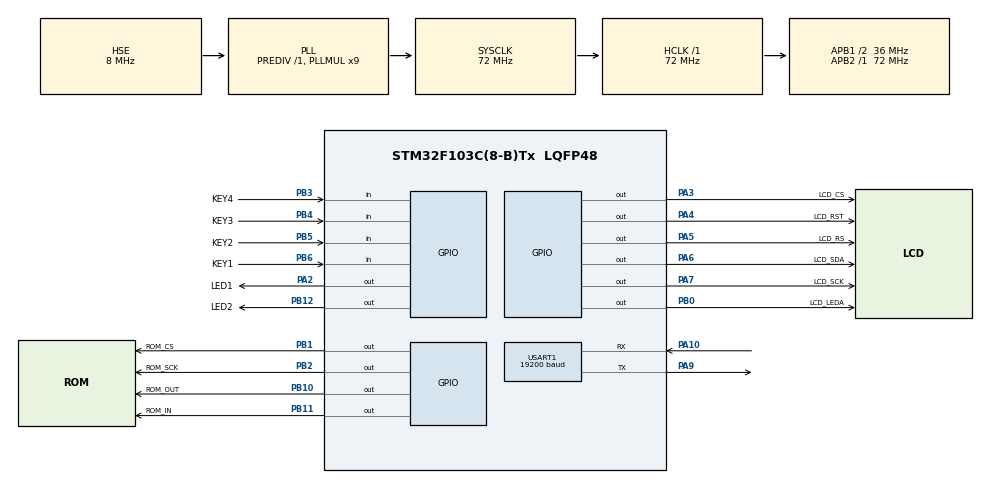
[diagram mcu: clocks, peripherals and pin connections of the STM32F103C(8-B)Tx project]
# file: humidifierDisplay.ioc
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FREERTOS.Tasks01=initTask,0,128,StartInitTask,Default,NULL,Dynamic,NULL,NULL
FREERTOS.configTOTAL_HEAP_SIZE=8192
Mcu.Family=STM32F1
Mcu.Name=STM32F103C(8-B)Tx
Mcu.Package=LQFP48
NVIC.PriorityGroup=NVIC_PRIORITYGROUP_4
NVIC.TIM3_IRQn=true\:5\:0\:false\:false\:true\:true\:true
NVIC.TIM4_IRQn=true\:0\:0\:false\:false\:true\:false\:false
NVIC.TimeBase=TIM4_IRQn
NVIC.TimeBaseIP=TIM4
NVIC.USART1_IRQn=true\:5\:0\:false\:false\:true\:true\:true
PA10.Mode=Asynchronous
PA10.Signal=USART1_RX
PA2.GPIO_Label=LED1
PA2.Signal=GPIO_Output
PA3.GPIO_Label=LCD_CS
PA3.Signal=GPIO_Output
PA4.GPIO_Label=LCD_RST
PA4.Signal=GPIO_Output
PA5.GPIO_Label=LCD_RS
PA5.Signal=GPIO_Output
PA6.GPIO_Label=LCD_SDA
PA6.Signal=GPIO_Output
PA7.GPIO_Label=LCD_SCK
PA7.Signal=GPIO_Output
PA9.Mode=Asynchronous
PA9.Signal=USART1_TX
PB0.GPIO_Label=LCD_LEDA
PB0.Signal=GPIO_Output
PB1.GPIO_Label=ROM_CS
PB1.Signal=GPIO_Output
PB10.GPIO_Label=ROM_OUT
PB10.GPIO_ModeDefaultOutputPP=GPIO_MODE_OUTPUT_OD
PB10.Signal=GPIO_Output
PB11.GPIO_Label=ROM_IN
PB11.Signal=GPIO_Output
PB12.GPIO_Label=LED2
PB12.Signal=GPIO_Output
PB2.GPIO_Label=ROM_SCK
PB2.Signal=GPIO_Output
PB3.GPIO_Label=KEY4
PB3.GPIO_PuPd=GPIO_PULLUP
PB3.Signal=GPIO_Input
PB4.GPIO_Label=KEY3
PB4.GPIO_PuPd=GPIO_PULLUP
PB4.Signal=GPIO_Input
PB5.GPIO_Label=KEY2
PB5.GPIO_PuPd=GPIO_PULLUP
PB5.Signal=GPIO_Input
PB6.GPIO_Label=KEY1
PB6.GPIO_PuPd=GPIO_PULLUP
PB6.Signal=GPIO_Input
PD0-OSC_IN.Mode=HSE-External-Oscillator
PD0-OSC_IN.Signal=RCC_OSC_IN
PD1-OSC_OUT.Mode=HSE-External-Oscillator
PD1-OSC_OUT.Signal=RCC_OSC_OUT
ProjectManager.HeapSize=0x200
ProjectManager.StackSize=0x400
ProjectManager.TargetToolchain=TrueSTUDIO
RCC.AHBFreq_Value=72000000
RCC.APB1CLKDivider=RCC_HCLK_DIV2
RCC.APB1Freq_Value=36000000
RCC.APB1TimFreq_Value=72000000
RCC.APB2Freq_Value=72000000
RCC.APB2TimFreq_Value=72000000
RCC.HCLKFreq_Value=72000000
RCC.PLLMUL=RCC_PLL_MUL9
RCC.PLLSourceVirtual=RCC_PLLSOURCE_HSE
RCC.SYSCLKFreq_VALUE=72000000
RCC.SYSCLKSource=RCC_SYSCLKSOURCE_PLLCLK
RCC.USBFreq_Value=72000000
TIM3.Period=5000
TIM3.Prescaler=71
USART1.BaudRate=19200
USART1.VirtualMode=VM_ASYNC
VP_FREERTOS_VS_ENABLE.Mode=Enabled
VP_SYS_VS_ND.Mode=No_Debug
VP_SYS_VS_tim4.Mode=TIM4
VP_TIM3_VS_ClockSourceINT.Mode=Internal
board=humidifierDisplay

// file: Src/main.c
/**
  ******************************************************************************
  * File Name          : main.c
  * Description        : Main program body
  ******************************************************************************
  * This notice applies to any and all portions of this file
  * that are not between comment pairs USER CODE BEGIN and
  * USER CODE END. Other portions of this file, whether
  * inserted by the user or by software development tools
  * are owned by their respective copyright owners.
  *
  * Copyright (c) 2018 STMicroelectronics International N.V.
  * All rights reserved.
  *
  * Redistribution and use in source and binary forms, with or without
  * modification, are permitted, provided that the following conditions are met:
  *
  * 1. Redistribution of source code must retain the above copyright notice,
  *    this list of conditions and the following disclaimer.
  * 2. Redistributions in binary form must reproduce the above copyright notice,
  *    this list of conditions and the following disclaimer in the documentation
  *    and/or other materials provided with the distribution.
  * 3. Neither the name of STMicroelectronics nor the names of other
  *    contributors to this software may be used to endorse or promote products
  *    derived from this software without specific written permission.
  * 4. This software, including modifications and/or derivative works of this
  *    software, must execute solely and exclusively on microcontroller or
  *    microprocessor devices manufactured by or for STMicroelectronics.
  * 5. Redistribution and use of this software other than as permitted under
  *    this license is void and will automatically terminate your rights under
  *    this license.
  *
  * THIS SOFTWARE IS PROVIDED BY STMICROELECTRONICS AND CONTRIBUTORS "AS IS"
  * AND ANY EXPRESS, IMPLIED OR STATUTORY WARRANTIES, INCLUDING, BUT NOT
  * LIMITED TO, THE IMPLIED WARRANTIES OF MERCHANTABILITY, FITNESS FOR A
  * PARTICULAR PURPOSE AND NON-INFRINGEMENT OF THIRD PARTY INTELLECTUAL PROPERTY
  * RIGHTS ARE DISCLAIMED TO THE FULLEST EXTENT PERMITTED BY LAW. IN NO EVENT
  * SHALL STMICROELECTRONICS OR CONTRIBUTORS BE LIABLE FOR ANY DIRECT, INDIRECT,
  * INCIDENTAL, SPECIAL, EXEMPLARY, OR CONSEQUENTIAL DAMAGES (INCLUDING, BUT NOT
  * LIMITED TO, PROCUREMENT OF SUBSTITUTE GOODS OR SERVICES; LOSS OF USE, DATA,
  * OR PROFITS; OR BUSINESS INTERRUPTION) HOWEVER CAUSED AND ON ANY THEORY OF
  * LIABILITY, WHETHER IN CONTRACT, STRICT LIABILITY, OR TORT (INCLUDING
  * NEGLIGENCE OR OTHERWISE) ARISING IN ANY WAY OUT OF THE USE OF THIS SOFTWARE,
  * EVEN IF ADVISED OF THE POSSIBILITY OF SUCH DAMAGE.
  *
  ******************************************************************************
  */

#include "main.h"
#include "stm32f1xx_hal.h"
#include "cmsis_os.h"
#include "tim.h"
#include "usart.h"
#include "gpio.h"

/* USER CODE BEGIN PV */

/* Private variables ---------------------------------------------------------*/

/* USER CODE END PV */

void SystemClock_Config(void);
void MX_FREERTOS_Init(void);

/* USER CODE BEGIN PFP */
/* Private function prototypes -----------------------------------------------*/

/* USER CODE END PFP */

int main(void)
{

  /* MCU Configuration----------------------------------------------------------*/

  /* Reset of all peripherals, Initializes the Flash interface and the Systick. */
  HAL_Init();

  /* Configure the system clock */
  SystemClock_Config();

  /* Initialize all configured peripherals */
  MX_GPIO_Init();
  MX_TIM3_Init();
  MX_USART1_UART_Init();

  /* Call init function for freertos objects (in freertos.c) */
  MX_FREERTOS_Init();

  /* Start scheduler */
  osKernelStart();

  /* We should never get here as control is now taken by the scheduler */

  /* Infinite loop */
  while (1)
  {

  }

}

/** System Clock Configuration
*/
void SystemClock_Config(void)
{

  RCC_OscInitTypeDef RCC_OscInitStruct;
  RCC_ClkInitTypeDef RCC_ClkInitStruct;

    /**Initializes the CPU, AHB and APB busses clocks
    */
  RCC_OscInitStruct.OscillatorType = RCC_OSCILLATORTYPE_HSE;
  RCC_OscInitStruct.HSEState = RCC_HSE_ON;
  RCC_OscInitStruct.HSEPredivValue = RCC_HSE_PREDIV_DIV1;
  RCC_OscInitStruct.HSIState = RCC_HSI_ON;
  RCC_OscInitStruct.PLL.PLLState = RCC_PLL_ON;
  RCC_OscInitStruct.PLL.PLLSource = RCC_PLLSOURCE_HSE;
  RCC_OscInitStruct.PLL.PLLMUL = RCC_PLL_MUL9;
  if (HAL_RCC_OscConfig(&RCC_OscInitStruct) != HAL_OK)
  {
    _Error_Handler(__FILE__, __LINE__);
  }

    /**Initializes the CPU, AHB and APB busses clocks
    */
  RCC_ClkInitStruct.ClockType = RCC_CLOCKTYPE_HCLK|RCC_CLOCKTYPE_SYSCLK
                              |RCC_CLOCKTYPE_PCLK1|RCC_CLOCKTYPE_PCLK2;
  RCC_ClkInitStruct.SYSCLKSource = RCC_SYSCLKSOURCE_PLLCLK;
  RCC_ClkInitStruct.AHBCLKDivider = RCC_SYSCLK_DIV1;
  RCC_ClkInitStruct.APB1CLKDivider = RCC_HCLK_DIV2;
  RCC_ClkInitStruct.APB2CLKDivider = RCC_HCLK_DIV1;

  if (HAL_RCC_ClockConfig(&RCC_ClkInitStruct, FLASH_LATENCY_2) != HAL_OK)
  {
    _Error_Handler(__FILE__, __LINE__);
  }

    /**Configure the Systick interrupt time
    */
  HAL_SYSTICK_Config(HAL_RCC_GetHCLKFreq()/1000);

    /**Configure the Systick
    */
  HAL_SYSTICK_CLKSourceConfig(SYSTICK_CLKSOURCE_HCLK);

  /* SysTick_IRQn interrupt configuration */
  HAL_NVIC_SetPriority(SysTick_IRQn, 15, 0);
}

void HAL_TIM_PeriodElapsedCallback(TIM_HandleTypeDef *htim)
{
  if (htim->Instance == TIM4) {
    HAL_IncTick();
  }
/* USER CODE BEGIN Callback 1 */

  if (htim->Instance == TIM3)
  {

  }

/* USER CODE END Callback 1 */
}

void _Error_Handler(char * file, int line)
{
  while(1)
  {
  }
}

/************************ (C) COPYRIGHT STMicroelectronics *****END OF FILE****/

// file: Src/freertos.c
/**
  ******************************************************************************
  * File Name          : freertos.c
  * Description        : Code for freertos applications
  ******************************************************************************
  * This notice applies to any and all portions of this file
  * that are not between comment pairs USER CODE BEGIN and
  * USER CODE END. Other portions of this file, whether
  * inserted by the user or by software development tools
  * are owned by their respective copyright owners.
  *
  * Copyright (c) 2018 STMicroelectronics International N.V.
  * All rights reserved.
  *
  * Redistribution and use in source and binary forms, with or without
  * modification, are permitted, provided that the following conditions are met:
  *
  * 1. Redistribution of source code must retain the above copyright notice,
  *    this list of conditions and the following disclaimer.
  * 2. Redistributions in binary form must reproduce the above copyright notice,
  *    this list of conditions and the following disclaimer in the documentation
  *    and/or other materials provided with the distribution.
  * 3. Neither the name of STMicroelectronics nor the names of other
  *    contributors to this software may be used to endorse or promote products
  *    derived from this software without specific written permission.
  * 4. This software, including modifications and/or derivative works of this
  *    software, must execute solely and exclusively on microcontroller or
  *    microprocessor devices manufactured by or for STMicroelectronics.
  * 5. Redistribution and use of this software other than as permitted under
  *    this license is void and will automatically terminate your rights under
  *    this license.
  *
  * THIS SOFTWARE IS PROVIDED BY STMICROELECTRONICS AND CONTRIBUTORS "AS IS"
  * AND ANY EXPRESS, IMPLIED OR STATUTORY WARRANTIES, INCLUDING, BUT NOT
  * LIMITED TO, THE IMPLIED WARRANTIES OF MERCHANTABILITY, FITNESS FOR A
  * PARTICULAR PURPOSE AND NON-INFRINGEMENT OF THIRD PARTY INTELLECTUAL PROPERTY
  * RIGHTS ARE DISCLAIMED TO THE FULLEST EXTENT PERMITTED BY LAW. IN NO EVENT
  * SHALL STMICROELECTRONICS OR CONTRIBUTORS BE LIABLE FOR ANY DIRECT, INDIRECT,
  * INCIDENTAL, SPECIAL, EXEMPLARY, OR CONSEQUENTIAL DAMAGES (INCLUDING, BUT NOT
  * LIMITED TO, PROCUREMENT OF SUBSTITUTE GOODS OR SERVICES; LOSS OF USE, DATA,
  * OR PROFITS; OR BUSINESS INTERRUPTION) HOWEVER CAUSED AND ON ANY THEORY OF
  * LIABILITY, WHETHER IN CONTRACT, STRICT LIABILITY, OR TORT (INCLUDING
  * NEGLIGENCE OR OTHERWISE) ARISING IN ANY WAY OUT OF THE USE OF THIS SOFTWARE,
  * EVEN IF ADVISED OF THE POSSIBILITY OF SUCH DAMAGE.
  *
  ******************************************************************************
  */

#include "FreeRTOS.h"
#include "task.h"
#include "cmsis_os.h"

/* USER CODE BEGIN Includes */

#include "gpio.h"
#include "white12864.h"
#include "usart.h"
#include "modbusSlave.h"
#include "hal_key.h"
#include "dataProcessing.h"
#include "display.h"

/* USER CODE END Includes */

osThreadId initTaskHandle;

/* USER CODE BEGIN Variables */

osThreadId getDataTaskHandle;
osThreadId modbusTaskHandle;
osThreadId checkKeyPressedHandle;

/* USER CODE END Variables */

void StartInitTask(void const * argument);

void MX_FREERTOS_Init(void); /* (MISRA C 2004 rule 8.1) */

/* USER CODE BEGIN FunctionPrototypes */

void StartGetDataTask(void const * argument);
void StartModbusTask(void const * argument);
void StartCheckKeyPressedTask(void const * argument);

/* USER CODE END FunctionPrototypes */

/* Hook prototypes */

/* Init FreeRTOS */

void MX_FREERTOS_Init(void) {

  /* Create the thread(s) */
  /* definition and creation of initTask */
  osThreadDef(initTask, StartInitTask, osPriorityNormal, 0, 128);
  initTaskHandle = osThreadCreate(osThread(initTask), NULL);

}

/* StartInitTask function */
void StartInitTask(void const * argument)
{

  /* USER CODE BEGIN StartInitTask */

	init_lcd();
	clear_screen();
	keyInit();

	osThreadDef(getDataTask, StartGetDataTask, osPriorityNormal, 0, 128);
	getDataTaskHandle = osThreadCreate(osThread(getDataTask), NULL);

	osThreadDef(modbusTask, StartModbusTask, osPriorityNormal, 0, 128);
	modbusTaskHandle = osThreadCreate(osThread(modbusTask), NULL);

	osThreadDef(checkKeyPressedTask, StartCheckKeyPressedTask, osPriorityNormal, 0, 128);
	checkKeyPressedHandle = osThreadCreate(osThread(checkKeyPressedTask), NULL);

	osThreadTerminate(initTaskHandle);

  /* USER CODE END StartInitTask */
}

/* USER CODE BEGIN Application */

void StartGetDataTask(void const * argument) {
	for (;;)
	{
		printf("key4 value = %d\n", HAL_GPIO_ReadPin(KEY4_GPIO_Port, KEY4_Pin));
		dataProcessing();
		display();
		osDelay(10);
	}
}

void StartModbusTask(void const * argument) {
	for (;;)
	{
		osDelay(10);
		modbusSlave();
	}
}

void StartCheckKeyPressedTask(void const * argument) {
	for (;;)
	{
		osDelay(5);
		keyHandle((keysTypedef_t *)&keys);
	}
}

/* USER CODE END Application */

/************************ (C) COPYRIGHT STMicroelectronics *****END OF FILE****/
